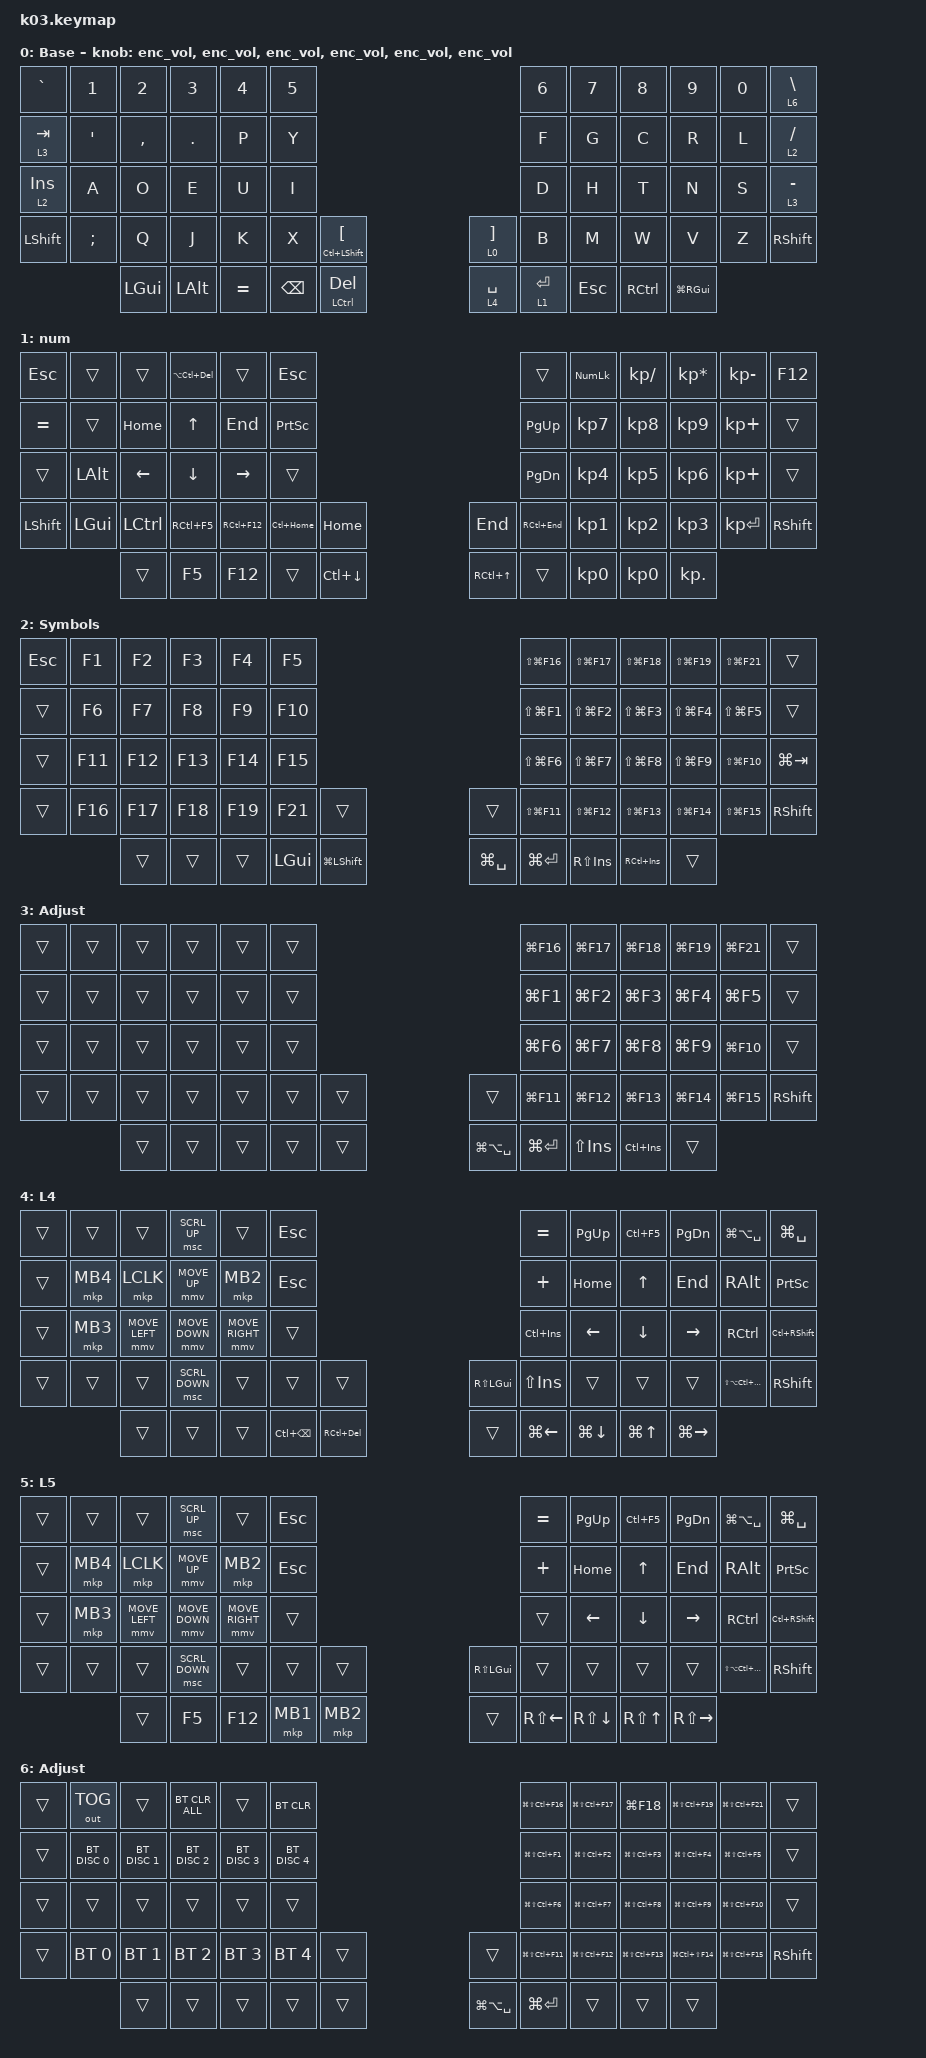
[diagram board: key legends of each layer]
#include "keys_ru.h"
#include <behaviors.dtsi>
#include <dt-bindings/zmk/bt.h>
#include <dt-bindings/zmk/keys.h>
#include <dt-bindings/zmk/outputs.h>
#include <dt-bindings/zmk/pointing.h>

&lt {
    retro-tap;
    quick-tap-ms = <175>;
};

/ {
    behaviors {
        enc_vol: enc_vol {
            compatible = "zmk,behavior-sensor-rotate";
            label = "ENC_VOL";
            #sensor-binding-cells = <0>;
            bindings = <&kp C_VOL_UP>, <&kp C_VOL_DN>;
        };
    };

    combos {
        compatible = "zmk,combos";

        combo1 {
            bindings = <&kp LS(LG(TAB))>;
            key-positions = <18 19>;
        };

        combo2 {
            bindings = <&kp LC(LG(RIGHT_BRACKET))>;
            key-positions = <44 45>;
        };

        combo3 {
            bindings = <&kp LC(LG(LEFT_BRACKET))>;
            key-positions = <40 41>;
        };

        combo4 {
            bindings = <&kp LA(LC(DELETE))>;
            key-positions = <8 9 10>;
        };

        combo5 {
            bindings = <&m4>;
            key-positions = <6 8 10>;
        };

        combo6 {
            bindings = <&m6>;
            key-positions = <18 20 22>;
        };

        combo7 {
            bindings = <&m3>;
            key-positions = <30 32 34>;
        };

        combo8 {
            bindings = <&m0>;
            key-positions = <31 32 33>;
        };

        combo9 {
            bindings = <&m5>;
            key-positions = <19 20 21>;
        };

        combo10 {
            bindings = <&m1>;
            key-positions = <44 46 48>;
        };

        combo12 {
            bindings = <&kp LC(LG(ENTER))>;
            key-positions = <28 29>;
        };

        combo13 {
            bindings = <&kp LS(LC(O))>;
            key-positions = <28 27>;
        };

        combo14 {
            bindings = <&kp LC(LS(E))>;
            key-positions = <26 27 28>;
        };
    };

    macros {
        m0: m0 {
            compatible = "zmk,behavior-macro";
            #binding-cells = <0>;
            bindings = <&none &kp B &kp R &kp Y &kp S &kp O &kp N &kp DOT &kp O &kp S &kp B &kp O &kp R &kp N &kp E &kp AT &kp I &kp N &kp V &kp E &kp N &kp C &kp O &kp DOT &kp C &kp O &kp M &kp TAB>;
            label = "M0";
        };

        m1: m1 {
            compatible = "zmk,behavior-macro";
            #binding-cells = <0>;
            bindings = <&none &kp LS(D) &kp E &kp V &kp LS(O) &kp P &kp S &kp LS(G) &kp U &kp R &kp U &kp N2 &kp N0 &kp N2 &kp N5 &kp DLLR &kp DLLR &kp ENTER>;
            label = "M1";
        };

        m2: m2 {
            compatible = "zmk,behavior-macro";
            #binding-cells = <0>;
            bindings = <&none &kp LS(S) &kp E &kp N &kp I &kp O &kp R &kp LS(D) &kp E &kp V &kp LS(O) &kp P &kp S &kp N2 &kp N0 &kp N2 &kp N5 &kp POUND &kp POUND &kp ENTER>;
            label = "M2";
        };

        m3: m3 {
            compatible = "zmk,behavior-macro";
            #binding-cells = <0>;
            bindings = <&none &kp LS(G) &kp I &kp L &kp B &kp A &kp R &kp C &kp O &kp N7 &kp N3 &kp N0 &kp N0 &kp DLLR &kp DLLR &kp DLLR &kp ENTER>;
            label = "M3";
        };

        m4: m4 {
            compatible = "zmk,behavior-macro";
            #binding-cells = <0>;
            bindings = <&none &kp B &kp O &kp S &kp B &kp O &kp R &kp N &kp E &kp ENTER>;
            label = "M4";
        };

        m5: m5 {
            compatible = "zmk,behavior-macro";
            #binding-cells = <0>;
            bindings = <&none &kp LS(D) &kp E &kp V &kp N0 &kp P &kp S &kp N2 &kp N0 &kp N2 &kp N6 &kp DLLR &kp DLLR &kp ENTER>;
            label = "M5";
        };

        m6: m6 {
            compatible = "zmk,behavior-macro";
            #binding-cells = <0>;
            bindings = <&none &kp LS(S) &kp E &kp N &kp I &kp O &kp R &kp LS(D) &kp E &kp V &kp LS(O) &kp P &kp S &kp N2 &kp N0 &kp N2 &kp N5 &kp DLLR &kp DLLR &kp ENTER>;
            label = "M6";
        };
    };

    keymap {
        compatible = "zmk,keymap";

        L0 {
            bindings = <
&kp GRAVE     &kp N1          &kp N2     &kp N3        &kp N4     &kp N5                                                                 &kp N6       &kp N7      &kp N8     &kp N9        &kp N0  &lt 6 BACKSLASH
&lt 3 TAB     &kp APOSTROPHE  &kp COMMA  &kp PERIOD    &kp P      &kp Y                                                                  &kp F        &kp G       &kp C      &kp R         &kp L   &lt 2 SLASH
&lt 2 INSERT  &kp A           &kp O      &kp E         &kp U      &kp I                                                                  &kp D        &kp H       &kp T      &kp N         &kp S   &lt 3 MINUS
&kp LSHFT     &kp SEMICOLON   &kp Q      &kp J         &kp K      &kp X          &mt LC(LEFT_SHIFT) LEFT_BRACKET    &lt 0 RIGHT_BRACKET  &kp B        &kp M       &kp W      &kp V         &kp Z   &kp RSHFT
                              &kp LGUI   &kp LEFT_ALT  &kp EQUAL  &kp BACKSPACE  &mt LCTRL DELETE                   &lt 4 SPACE          &lt 1 ENTER  &kp ESCAPE  &kp RCTRL  &kp LG(RGUI)
            >;

            display-name = "Base";
            sensor-bindings =
                <&enc_vol>,
                <&enc_vol>,
                <&enc_vol>,
                <&enc_vol>,
                <&enc_vol>,
                <&enc_vol>;

            label = "L0";
        };

        L1 {
            bindings = <
&kp ESC         &trans        &trans     &kp LA(LC(DELETE))  &trans       &kp ESCAPE                                         &trans       &kp KP_NUMLOCK   &kp KP_DIVIDE  &kp KP_ASTERISK  &kp KP_MINUS  &kp F12
&kp EQUAL       &trans        &kp HOME   &kp UP              &kp END      &kp PRINTSCREEN                                    &kp PG_UP    &kp KP_N7        &kp KP_N8      &kp KP_NUMBER_9  &kp KP_PLUS   &trans
&trans          &kp LEFT_ALT  &kp LEFT   &kp DOWN            &kp RIGHT    &trans                                             &kp PG_DN    &kp KP_NUMBER_4  &kp KP_N5      &kp KP_N6        &kp KP_PLUS   &trans
&kp LEFT_SHIFT  &kp LEFT_GUI  &kp LCTRL  &kp RC(F5)          &kp RC(F12)  &kp LC(HOME)     &kp HOME              &kp END     &kp RC(END)  &kp KP_NUMBER_1  &kp KP_N2      &kp KP_N3        &kp KP_ENTER  &kp RIGHT_SHIFT
                              &trans     &kp F5              &kp F12      &trans           &kp LC(DOWN_ARROW)    &kp RC(UP)  &trans       &kp KP_NUMBER_0  &kp KP_N0      &kp KP_DOT
            >;

            display-name = "num";
            label = "L1";
        };

        L2 {
            bindings = <
&kp ESC  &kp F1   &kp F2   &kp F3   &kp F4   &kp F5                                             &kp LS(LG(F16))  &kp LS(LG(F17))  &kp LS(LG(F18))  &kp LS(LG(F19))  &kp LS(LG(F21))  &trans
&trans   &kp F6   &kp F7   &kp F8   &kp F9   &kp F10                                            &kp LS(LG(F1))   &kp LS(LG(F2))   &kp LS(LG(F3))   &kp LS(LG(F4))   &kp LS(LG(F5))   &trans
&trans   &kp F11  &kp F12  &kp F13  &kp F14  &kp F15                                            &kp LS(LG(F6))   &kp LS(LG(F7))   &kp LS(LG(F8))   &kp LS(LG(F9))   &kp LS(LG(F10))  &kp LG(TAB)
&trans   &kp F16  &kp F17  &kp F18  &kp F19  &kp F21       &trans                &trans         &kp LS(LG(F11))  &kp LS(LG(F12))  &kp LS(LG(F13))  &kp LS(LG(F14))  &kp LS(LG(F15))  &kp RIGHT_SHIFT
                  &trans   &trans   &trans   &kp LEFT_GUI  &kp LG(LEFT_SHIFT)    &kp LG(SPACE)  &kp LG(ENTER)    &kp RS(INS)      &kp RC(INS)      &trans
            >;

            display-name = "Symbols";
            label = "L2";
        };

        L3 {
            bindings = <
&trans  &trans  &trans  &trans  &trans  &trans                               &kp LG(F16)    &kp LG(F17)     &kp LG(F18)  &kp LG(F19)  &kp LG(F21)  &trans
&trans  &trans  &trans  &trans  &trans  &trans                               &kp LG(F1)     &kp LG(F2)      &kp LG(F3)   &kp LG(F4)   &kp LG(F5)   &trans
&trans  &trans  &trans  &trans  &trans  &trans                               &kp LG(F6)     &kp LG(F7)      &kp LG(F8)   &kp LG(F9)   &kp LG(F10)  &trans
&trans  &trans  &trans  &trans  &trans  &trans  &trans    &trans             &kp LG(F11)    &kp LG(F12)     &kp LG(F13)  &kp LG(F14)  &kp LG(F15)  &kp RIGHT_SHIFT
                &trans  &trans  &trans  &trans  &trans    &kp LG(LA(SPACE))  &kp LG(ENTER)  &kp LS(INSERT)  &kp LC(INS)  &trans
            >;

            display-name = "Adjust";
            label = "L3";
        };

        L4 {
            bindings = <
&trans  &trans    &trans          &msc SCRL_UP    &trans           &kp ESC                                                &kp EQUAL     &kp PAGE_UP   &kp LC(F5)  &kp PG_DN            &kp LG(LA(SPACE))             &kp LG(SPACE)
&trans  &mkp MB4  &mkp LCLK       &mmv MOVE_UP    &mkp MB2         &kp ESC                                                &kp PLUS      &kp HOME      &kp UP      &kp END              &kp RALT                      &kp PRINTSCREEN
&trans  &mkp MB3  &mmv MOVE_LEFT  &mmv MOVE_DOWN  &mmv MOVE_RIGHT  &trans                                                 &kp LC(INS)   &kp LEFT      &kp DOWN    &kp RIGHT            &kp RCTRL                     &kp LC(RIGHT_SHIFT)
&trans  &trans    &trans          &msc SCRL_DOWN  &trans           &trans             &trans            &kp RS(LEFT_GUI)  &kp LS(INS)   &trans        &trans      &trans               &kp LS(LA(LC(LG(KP_ENTER))))  &kp RIGHT_SHIFT
                  &trans          &trans          &trans           &kp LC(BACKSPACE)  &kp RC(DELETE)    &trans            &kp LG(LEFT)  &kp LG(DOWN)  &kp LG(UP)  &kp LG(RIGHT_ARROW)
            >;

            label = "L4";
        };

        L5 {
            bindings = <
&trans  &trans    &trans          &msc SCRL_UP    &trans           &kp ESC                                 &kp EQUAL     &kp PAGE_UP   &kp LC(F5)  &kp PG_DN            &kp LG(LA(SPACE))             &kp LG(SPACE)
&trans  &mkp MB4  &mkp LCLK       &mmv MOVE_UP    &mkp MB2         &kp ESC                                 &kp PLUS      &kp HOME      &kp UP      &kp END              &kp RALT                      &kp PRINTSCREEN
&trans  &mkp MB3  &mmv MOVE_LEFT  &mmv MOVE_DOWN  &mmv MOVE_RIGHT  &trans                                  &trans        &kp LEFT      &kp DOWN    &kp RIGHT            &kp RCTRL                     &kp LC(RIGHT_SHIFT)
&trans  &trans    &trans          &msc SCRL_DOWN  &trans           &trans    &trans      &kp RS(LEFT_GUI)  &trans        &trans        &trans      &trans               &kp LS(LA(LC(LG(KP_ENTER))))  &kp RIGHT_SHIFT
                  &trans          &kp F5          &kp F12          &mkp MB1  &mkp MB2    &trans            &kp RS(LEFT)  &kp RS(DOWN)  &kp RS(UP)  &kp RS(RIGHT_ARROW)
            >;

            label = "L5";
        };

        L6 {
            label = "L6";
            display-name = "Adjust";
            bindings = <
&trans  &out OUT_TOG   &trans         &bt BT_CLR_ALL  &trans         &bt BT_CLR                                  &kp LG(LS(LC(F16)))  &kp LG(LS(LC(F17)))  &kp LG(F18)          &kp LG(LS(LC(F19)))  &kp LG(LS(LC(F21)))  &trans
&trans  &bt BT_DISC 0  &bt BT_DISC 1  &bt BT_DISC 2   &bt BT_DISC 3  &bt BT_DISC 4                               &kp LG(LS(LC(F1)))   &kp LG(LS(LC(F2)))   &kp LG(LS(LC(F3)))   &kp LG(LS(LC(F4)))   &kp LG(LS(LC(F5)))   &trans
&trans  &trans         &trans         &trans          &trans         &trans                                      &kp LG(LS(LC(F6)))   &kp LG(LS(LC(F7)))   &kp LG(LS(LC(F8)))   &kp LG(LS(LC(F9)))   &kp LG(LS(LC(F10)))  &trans
&trans  &bt BT_SEL 0   &bt BT_SEL 1   &bt BT_SEL 2    &bt BT_SEL 3   &bt BT_SEL 4   &trans    &trans             &kp LG(LS(LC(F11)))  &kp LG(LS(LC(F12)))  &kp LG(LS(LC(F13)))  &kp LG(LC(LS(F14)))  &kp LG(LS(LC(F15)))  &kp RIGHT_SHIFT
                       &trans         &trans          &trans         &trans         &trans    &kp LG(LA(SPACE))  &kp LG(ENTER)        &trans               &trans               &trans
            >;
        };
    };
};
